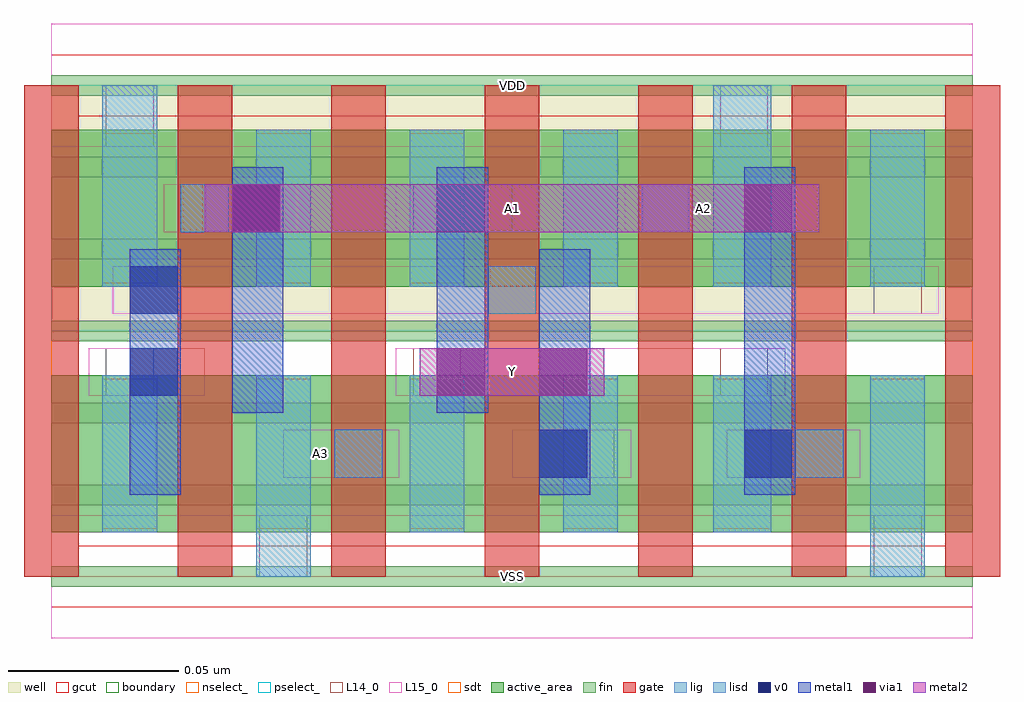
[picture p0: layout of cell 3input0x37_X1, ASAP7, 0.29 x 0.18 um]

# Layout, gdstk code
import gdstk
lib = gdstk.Library(unit=1e-6, precision=1e-09)
def R(c, l, rs):  # rectangles x0, y0, x1, y1
    for r in rs: c.add(gdstk.rectangle(r[:2], r[2:], *l))
def A(c, l, x, y, w, h, nx, ny, dx, dy):  # array of equal rectangles
    R(c, l, [(x+i*dx, y+j*dy, x+i*dx+w, y+j*dy+h) for i in range(nx) for j in range(ny)])
def P(c, l, *ps):  # polygons
    for p in ps: c.add(gdstk.Polygon(p, *l))
well = (1, 0)
fin = (2, 0)
gate = (7, 0)
gcut = (10, 0)
active_area = (11, 0)
nselect_ = (12, 0)
pselect_ = (13, 0)
L14_0 = (14, 0)
L15_0 = (15, 0)
lig = (16, 0)
lisd = (17, 0)
v0 = (18, 0)
metal1 = (19, 0)
metal2 = (20, 0)
via1 = (21, 0)
sdt = (88, 0)
boundary = (100, 0)

c_3input0x37_x1 = lib.new_cell('3input0x37_X1')
R(c_3input0x37_x1, well, [(0,0.072,0.27,0.144)])
A(c_3input0x37_x1, fin, 0, -0.003, 0.27, 0.006, 1, 7, 0, 0.024)
A(c_3input0x37_x1, gate, -0.008, 0, 0.016, 0.144, 7, 1, 0.045, 0)
P(c_3input0x37_x1, gcut, [(0,-0.009),(0,0),(-0.008,0),(-0.008,0.135),(0.008,0.135),(0.008,0.009),(0.262,0.009),(0.262,0.135),(-0.008,0.135),(-0.008,0.144),(0,0.144),(0,0.153),(0.27,0.153),(0.27,0.144),(0.278,0.144),(0.278,0),(0.27,0),(0.27,-0.009)])
R(c_3input0x37_x1, active_area, [(0,0.013,0.27,0.059), (0,0.085,0.27,0.131)])
R(c_3input0x37_x1, nselect_, [(0,0,0.27,0.072)])
R(c_3input0x37_x1, pselect_, [(0,0.072,0.27,0.144)])
A(c_3input0x37_x1, L14_0, 0.016, 0.053, 0.014, 0.014, 3, 1, 0.09, 0)
R(c_3input0x37_x1, L14_0, [(0.061,0,0.075,0.018), (0.241,0,0.255,0.018), (0.083,0.029,0.097,0.043), (0.15,0.029,0.165,0.043), (0.218,0.029,0.232,0.043), (0.128,0.077,0.142,0.091), (0.241,0.077,0.255,0.091), (0.038,0.101,0.052,0.115), (0.106,0.101,0.12,0.115), (0.173,0.101,0.187,0.115), (0.016,0.126,0.03,0.144), (0.196,0.126,0.21,0.144)])
R(c_3input0x37_x1, L15_0, [(0,-0.018,0.27,0.018), (0.068,0.029,0.102,0.043), (0.135,0.029,0.17,0.043), (0.198,0.029,0.237,0.043), (0.011,0.053,0.045,0.067), (0.101,0.053,0.215,0.067), (0.018,0.077,0.26,0.091), (0.033,0.101,0.072,0.115), (0.101,0.101,0.135,0.115), (0.168,0.101,0.203,0.115), (0,0.126,0.27,0.162)])
R(c_3input0x37_x1, lig, [(0.083,0.029,0.097,0.043), (0.218,0.029,0.232,0.043), (0.128,0.077,0.142,0.091), (0.038,0.101,0.052,0.115), (0.173,0.101,0.187,0.115)])
A(c_3input0x37_x1, lisd, 0.06, 0.085, 0.016, 0.046, 3, 1, 0.045, 0)
R(c_3input0x37_x1, lisd, [(0.06,0,0.076,0.059), (0.24,0,0.256,0.059), (0.015,0.013,0.031,0.059), (0.105,0.013,0.121,0.059), (0.15,0.013,0.166,0.059), (0.194,0.013,0.211,0.059), (0.015,0.085,0.031,0.144), (0.194,0.085,0.211,0.144), (0.24,0.085,0.256,0.131)])
R(c_3input0x37_x1, v0, [(0.143,0.029,0.157,0.043), (0.203,0.029,0.217,0.043), (0.023,0.053,0.037,0.067), (0.023,0.077,0.037,0.091), (0.053,0.101,0.067,0.115), (0.113,0.101,0.127,0.115)])
R(c_3input0x37_x1, metal1, [(0.023,0.024,0.038,0.096), (0.143,0.024,0.158,0.096), (0.203,0.024,0.218,0.12), (0.053,0.048,0.068,0.12), (0.113,0.048,0.128,0.12)])
R(c_3input0x37_x1, metal2, [(0.108,0.053,0.162,0.067), (0.045,0.101,0.225,0.115)])
R(c_3input0x37_x1, via1, [(0.113,0.053,0.127,0.067), (0.143,0.053,0.157,0.067), (0.053,0.101,0.067,0.115), (0.203,0.101,0.217,0.115)])
A(c_3input0x37_x1, sdt, 0.015, 0.014, 0.016, 0.044, 4, 2, 0.045, 0.072)
R(c_3input0x37_x1, sdt, [(0.194,0.014,0.211,0.058), (0.24,0.014,0.256,0.058), (0.194,0.086,0.211,0.13), (0.24,0.086,0.256,0.13)])
R(c_3input0x37_x1, boundary, [(0,0,0.27,0.144)])
c_3input0x37_x1.add(gdstk.Label('A2', (0.191,0.108), layer=15, texttype=251))
c_3input0x37_x1.add(gdstk.Label('VSS', (0.135,0), layer=15, texttype=251))
c_3input0x37_x1.add(gdstk.Label('VDD', (0.135,0.144), layer=15, texttype=251))
c_3input0x37_x1.add(gdstk.Label('A3', (0.079,0.036), layer=15, texttype=251))
c_3input0x37_x1.add(gdstk.Label('VSS', (0.135,0), layer=15, texttype=251))
c_3input0x37_x1.add(gdstk.Label('VDD', (0.135,0.144), layer=15, texttype=251))
c_3input0x37_x1.add(gdstk.Label('VSS', (0.135,0), layer=15, texttype=251))
c_3input0x37_x1.add(gdstk.Label('VDD', (0.135,0.144), layer=15, texttype=251))
c_3input0x37_x1.add(gdstk.Label('VSS', (0.135,0), layer=15, texttype=251))
c_3input0x37_x1.add(gdstk.Label('VDD', (0.135,0.144), layer=15, texttype=251))
c_3input0x37_x1.add(gdstk.Label('VSS', (0.135,0), layer=3, texttype=251))
c_3input0x37_x1.add(gdstk.Label('VSS', (0.135,0), layer=3, texttype=251))
c_3input0x37_x1.add(gdstk.Label('VSS', (0.135,0), layer=3, texttype=251))
c_3input0x37_x1.add(gdstk.Label('VSS', (0.135,0), layer=3, texttype=251))
c_3input0x37_x1.add(gdstk.Label('VDD', (0.135,0.144), layer=1, texttype=251))
c_3input0x37_x1.add(gdstk.Label('VDD', (0.135,0.144), layer=1, texttype=251))
c_3input0x37_x1.add(gdstk.Label('VDD', (0.135,0.144), layer=1, texttype=251))
c_3input0x37_x1.add(gdstk.Label('VDD', (0.135,0.144), layer=1, texttype=251))
c_3input0x37_x1.add(gdstk.Label('Y', (0.135,0.06), layer=20, texttype=251))
c_3input0x37_x1.add(gdstk.Label('A1', (0.135,0.108), layer=20, texttype=251))

lib.write_gds('3input0x37_X1.gds')
